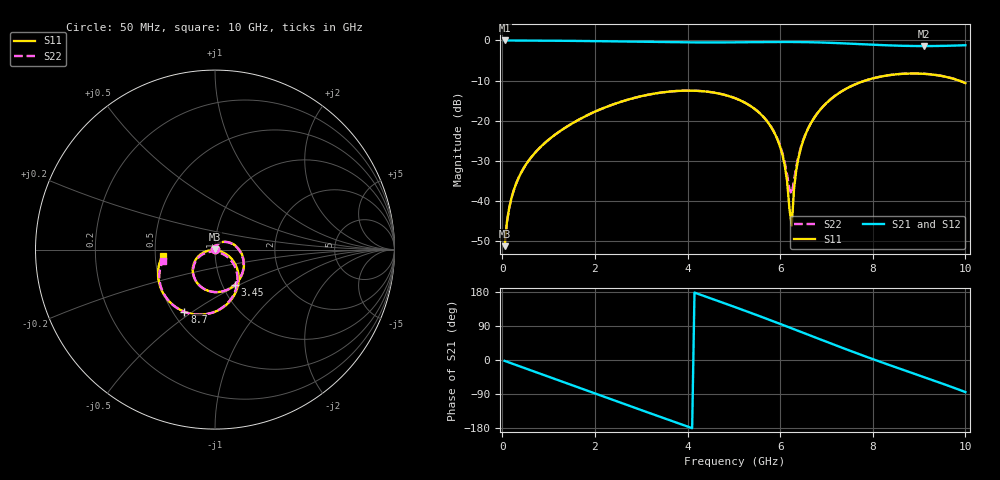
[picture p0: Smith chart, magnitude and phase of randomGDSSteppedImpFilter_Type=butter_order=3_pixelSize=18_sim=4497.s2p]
! freq	dB(S11)	phase(S11)	dB(S12)	phase(S12)
!  dB(S21)	phase(S21)	dB(S22)	phase(S22)
!S-par simulation data
#  GHz  S  DB  R 50
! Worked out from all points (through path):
!   200 points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, 50 MHz to 10 GHz, reference 50 ohm
!   highest |S21| = -0.01 dB at 50 MHz (marker M1); lowest = -1.4 dB at 9.1 GHz (marker M2)
!   group delay of S21, straight-line fit = 124 ps
!   lowest |S11| = -51.2 dB at 50 MHz (marker M3), VSWR 1.01, Z = 50 + j0.275 ohm
!   |S11| at or under -10 dB: start of sweep to 7.837 GHz; 9.863 GHz to end of sweep
!   |S22| runs from -51.2 to -8.2 dB; largest |S21 - S12| = 0
!   S11 on the Smith chart (normalised r, x): 50 MHz: 1.00, +0.01; 3.45 GHz: 1.15, -0.47; 8.7 GHz: 0.57, -0.46; 10 GHz: 0.55, -0.04
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0.05  -51.21 86.3  -0.01 -2.3  -0.01 -2.3  -51.21 86.3
0.1  -45.19 84.9  -0.01 -4.5  -0.01 -4.5  -45.19 84.8
0.2  -39.15 80.9  -0.02 -8.9  -0.02 -8.9  -39.16 80.7
0.45  -32.03 70.3  -0.03 -19.9  -0.03 -19.9  -32.03 69.8
1.15  -23.37 40.0  -0.08 -50.8  -0.08 -50.8  -23.37 39.0
1.75  -19.12 14.0  -0.14 -77.2  -0.14 -77.2  -19.12 12.8
2.55  -15.31 -21.3  -0.26 -112.5  -0.26 -112.5  -15.32 -22.4
3.4  -13.02 -58.3  -0.41 -149.6  -0.41 -149.6  -13.02 -59.2
3.45  -12.94 -60.5  -0.42 -151.7  -0.42 -151.7  -12.94 -61.3
4.25  -12.57 -94.9  -0.51 173.6  -0.51 173.6  -12.57 -95.2
5.05  -14.49 -129.4  -0.48 138.5  -0.48 138.5  -14.48 -128.7
5.9  -23.58 -165.6  -0.39 99.9  -0.39 99.9  -23.44 -159.8
6.1  -31.16 -170.4  -0.38 90.6  -0.38 90.6  -30.45 -155.6
6.25  -46.13 -52.0  -0.39 83.6  -0.39 83.6  -38.23 -80.8
6.3  -36.85 -22.0  -0.39 81.2  -0.39 81.2  -34.83 -49.1
6.4  -28.99 -17.9  -0.40 76.5  -0.40 76.5  -28.62 -31.5
6.7  -19.90 -28.1  -0.46 62.3  -0.46 62.3  -19.87 -33.3
7.5  -11.57 -64.0  -0.79 24.9  -0.79 24.9  -11.57 -65.6
8.35  -8.65 -101.4  -1.23 -12.9  -1.23 -12.9  -8.64 -101.3
8.7  -8.27 -116.2  -1.35 -27.9  -1.35 -27.9  -8.26 -115.5
9.1  -8.31 -133.2  -1.41 -45.0  -1.41 -45.0  -8.29 -131.6
10  -10.63 -173.1  -1.19 -84.6  -1.19 -84.6  -10.57 -167.8
